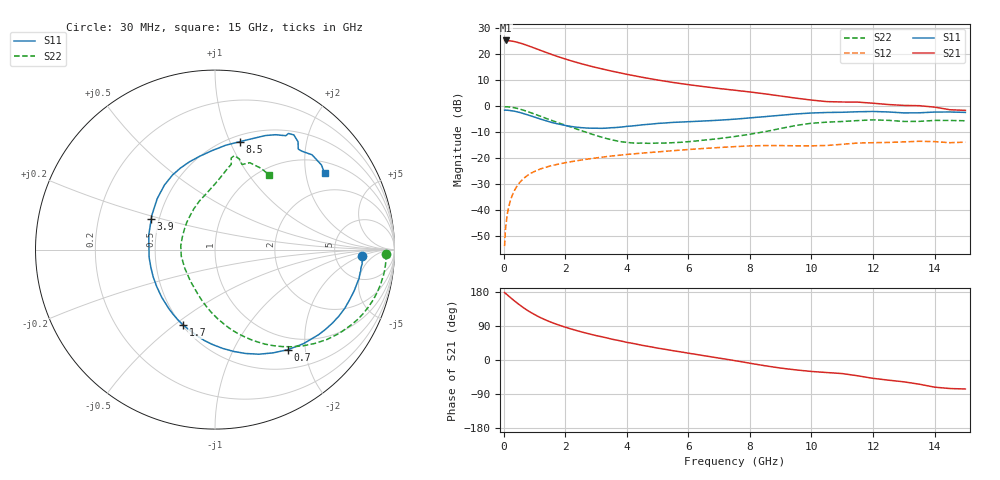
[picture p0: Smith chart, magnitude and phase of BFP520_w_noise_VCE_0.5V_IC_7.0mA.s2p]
! Infineon Technologies  Discrete & RF Semiconductors
! BFP520
! VCE =  0.5 V,  IC =  7.0 mA
! Common Emitter S-Parameters:  Oct 2015
# GHz  S  MA  R  50
!  f  S11  S21  S12  S22
! GHz  MAG  ANG  MAG  ANG  MAG  ANG  MAG  ANG
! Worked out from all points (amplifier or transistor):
!   109 points, 30 MHz to 15 GHz, reference 50 ohm
!   highest |S21| = 25.1 dB at 70 MHz (marker M1)
!   |S21| within 3 dB of that: start of sweep to 1.017 GHz
!   unconditionally stable (mu >= 1): 3.478 GHz to end of sweep
!   at 450 MHz: K = 0.19, MSG = 27.5 dB, |S12| = -30.6 dB
!   at 4 GHz: K = 1.07, MAG = 13.8 dB, |S12| = -18.7 dB
!   at 15 GHz: K = 1.36, MAG = 2.5 dB, |S12| = -14.0 dB
!   lowest NFmin = 1.34 dB at 900 MHz
!   S11 on the Smith chart (normalised r, x): 30 MHz: 9.75, -2.16; 700 MHz: 0.79, -1.68; 1.7 GHz: 0.51, -0.54; 3.9 GHz: 0.45, +0.18; 8.5 GHz: 0.56, +1.09; 15 GHz: 1.35, +2.56
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0.03  0.822 -2.5  17.92 178.0  0.002 90.0  0.9518 -1.5
0.07  0.8239 -5.6  17.95 174.8  0.0049 86.6  0.9537 -4.0
0.14  0.8185 -11.4  17.83 170.2  0.0097 83.9  0.9502 -8.3
0.25  0.8006 -20.4  17.51 162.6  0.0171 79.4  0.9347 -14.8
0.4  0.772 -32.0  16.78 152.7  0.0265 73.3  0.8992 -23.4
0.6  0.7192 -46.8  15.56 140.4  0.0376 66.3  0.8355 -33.9
0.7  0.6899 -53.9  14.86 134.8  0.0425 63.0  0.7996 -38.8
0.9  0.6322 -67.2  13.48 124.7  0.0509 57.4  0.7271 -47.5
1.2  0.5528 -85.4  11.57 111.7  0.061 50.9  0.6256 -58.8
1.4  0.5096 -96.8  10.45 104.4  0.0665 47.5  0.565 -65.4
1.7  0.4557 -112.9  9.034 94.8  0.0737 43.4  0.4877 -74.4
2.2  0.3988 -137.9  7.268 81.6  0.0842 38.2  0.3854 -87.8
2.6  0.3763 -156.4  6.228 72.6  0.0919 34.5  0.3207 -98.6
3.1  0.368 -177.2  5.255 62.8  0.1009 30.3  0.2571 -113.5
3.9  0.3938 154.4  4.131 48.5  0.1141 23.7  0.2004 -144.2
5.1  0.4603 126.3  3.053 30.1  0.1309 14.8  0.1916 170.7
6.3  0.502 109.0  2.409 14.1  0.148 5.7  0.2115 140.5
7.6  0.5574 90.2  1.955 -2.9  0.1646 -5.2  0.2606 115.5
8.5  0.6175 77.0  1.685 -15.3  0.1715 -13.9  0.3181 98.3
10.5  0.741 59.1  1.199 -33.1  0.1721 -25.4  0.4834 79.2
13  0.7275 50.4  1.014 -57.6  0.2017 -44.6  0.4981 72.4
15  0.7439 34.8  0.814 -76.5  0.1994 -60.0  0.5139 53.8
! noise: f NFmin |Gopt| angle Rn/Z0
0.45  1.35  0.39  2  0.3
0.9  1.34  0.38  9  0.32
1.9  1.57  0.33  19  0.27
2.4  1.57  0.29  30  0.27
3.5  1.5  0.27  54  0.26
